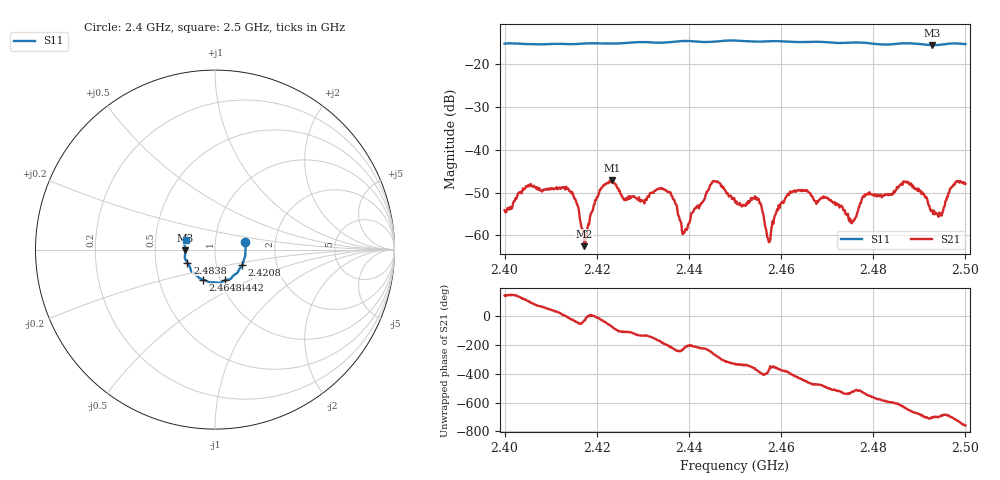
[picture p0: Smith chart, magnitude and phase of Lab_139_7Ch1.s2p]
# Hz S RI R 50
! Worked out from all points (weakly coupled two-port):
!   601 points, 2.4 GHz to 2.5 GHz, reference 50 ohm
!   highest |S21| = -47.18 dB at 2.4233 GHz (marker M1); lowest = -62.5 dB at 2.4173 GHz (marker M2)
!   lowest |S11| = -15.6 dB at 2.4928 GHz (marker M3), VSWR 1.40, Z = 35.8 - j0.352 ohm
!   |S11| at or under -10 dB: start of sweep to end of sweep
!   S12 and S22 are empty: the file has one direction only
!   S11 on the Smith chart (normalised r, x): 2.4 GHz: 1.40, +0.12; 2.4208 GHz: 1.33, -0.24; 2.4442 GHz: 1.05, -0.37; 2.4648 GHz: 0.83, -0.29; 2.4838 GHz: 0.73, -0.11; 2.5 GHz: 0.72, +0.08
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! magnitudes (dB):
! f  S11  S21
! 2.4 GHz  -15.3  -54.2
! 2.413 GHz  -15.3  -48.8
! 2.4167 GHz  -15.2  -58.0
! 2.4173 GHz  -15.2  -62.5
! 2.4208 GHz  -15.2  -49.3
! 2.4233 GHz  -15.2  -47.2
! 2.4333 GHz  -15.0  -49.1
! 2.439 GHz  -14.6  -59.4
! 2.4442 GHz  -14.9  -49.5
! 2.45 GHz  -14.5  -52.1
! 2.4548 GHz  -14.8  -51.7
! 2.4573 GHz  -14.7  -61.6
! 2.4598 GHz  -14.7  -52.8
! 2.4648 GHz  -14.9  -49.6
! 2.4667 GHz  -14.8  -50.8
! 2.4753 GHz  -15.0  -57.2
! 2.4782 GHz  -15.0  -50.5
! 2.4833 GHz  -15.5  -50.6
! 2.4838 GHz  -15.4  -50.4
! 2.4877 GHz  -15.2  -47.9
! 2.4928 GHz  -15.6  -54.2
! 2.5 GHz  -15.4  -48.0
